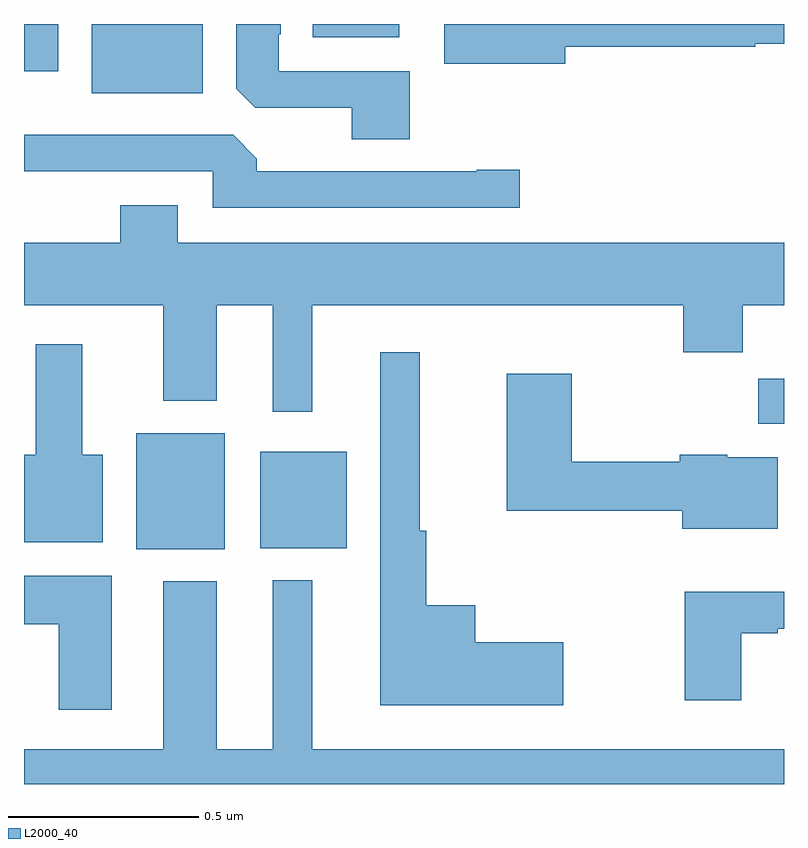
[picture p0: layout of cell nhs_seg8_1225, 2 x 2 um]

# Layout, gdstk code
import gdstk
lib = gdstk.Library(unit=1e-6, precision=1e-09)
def R(c, l, rs):  # rectangles x0, y0, x1, y1
    for r in rs: c.add(gdstk.rectangle(r[:2], r[2:], *l))
def P(c, l, *ps):  # polygons
    for p in ps: c.add(gdstk.Polygon(p, *l))
L2000_40 = (2000, 40)

nhs_seg8_1225 = lib.new_cell('nhs_seg8_1225')
R(nhs_seg8_1225, L2000_40, [(127.295,1122.518,127.528,1122.823), (127.622,1122.521,127.849,1122.775), (128.932,1122.848,129,1122.967), (127.178,1123.718,127.471,1123.9), (127,1123.776,127.09,1123.9), (127.76,1123.865,127.987,1123.9)])
P(nhs_seg8_1225, L2000_40, [(128.015,1123.776),(127.671,1123.776),(127.671,1123.873),(127.675,1123.873),(127.675,1123.9),(127.559,1123.9),(127.559,1123.729),(127.608,1123.68),(127.862,1123.68),(127.862,1123.597),(128.015,1123.597)],
  [(128.424,1123.84),(128.924,1123.84),(128.924,1123.848),(129,1123.848),(129,1123.9),(128.106,1123.9),(128.106,1123.796),(128.424,1123.796)],
  [(128.305,1123.517),(128.192,1123.517),(128.192,1123.512),(127.613,1123.512),(127.613,1123.546),(127.551,1123.608),(127,1123.608),(127,1123.512),(127.497,1123.512),(127.497,1123.416),(128.305,1123.416)],
  [(127.759,1123.16),(128.735,1123.16),(128.735,1123.036),(128.891,1123.036),(128.891,1123.16),(129,1123.16),(129,1123.324),(127.405,1123.324),(127.405,1123.423),(127.253,1123.423),(127.253,1123.324),(127,1123.324),(127,1123.16),(127.367,1123.16),(127.367,1122.908),(127.507,1122.908),(127.507,1123.16),(127.655,1123.16),(127.655,1122.879),(127.759,1122.879)],
  [(127.207,1122.766),(127.153,1122.766),(127.153,1123.057),(127.031,1123.057),(127.031,1122.766),(127,1122.766),(127,1122.536),(127.207,1122.536)],
  [(128.419,1122.273),(128.188,1122.273),(128.188,1122.37),(128.059,1122.37),(128.059,1122.566),(128.041,1122.566),(128.041,1123.036),(127.937,1123.036),(127.937,1122.107),(128.419,1122.107)],
  [(128.983,1122.76),(128.85,1122.76),(128.85,1122.766),(128.725,1122.766),(128.725,1122.748),(128.441,1122.748),(128.441,1122.979),(128.27,1122.979),(128.27,1122.619),(128.732,1122.619),(128.732,1122.572),(128.983,1122.572)],
  [(127.231,1122.448),(127,1122.448),(127,1122.32),(127.091,1122.32),(127.091,1122.096),(127.231,1122.096)],
  [(129,1121.992),(127.759,1121.992),(127.759,1122.436),(127.655,1122.436),(127.655,1121.992),(127.507,1121.992),(127.507,1122.433),(127.367,1122.433),(127.367,1121.992),(127,1121.992),(127,1121.9),(129,1121.9)],
  [(128.887,1122.297),(128.983,1122.297),(128.983,1122.309),(129,1122.309),(129,1122.406),(128.739,1122.406),(128.739,1122.12),(128.887,1122.12)])

lib.write_gds('nhs_seg8_1225.gds')
